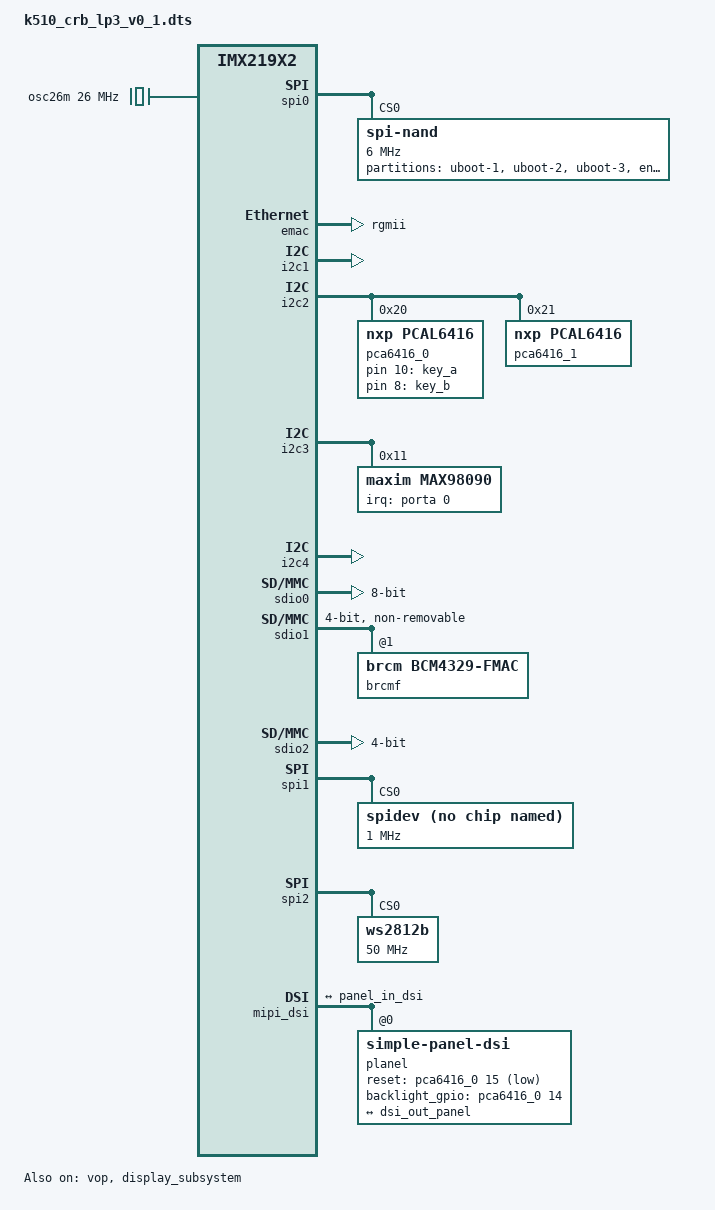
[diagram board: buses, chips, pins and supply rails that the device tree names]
/* Copyright (c) 2022, Canaan Bright Sight Co., Ltd
 *
 * This program is free software; you can redistribute it and/or modify
 * it under the terms of the GNU General Public License version 2 as
 * published by the Free Software Foundation.
*/
#include "k510_common/k510.dtsi"                    /* k510 soc top, include cpu/cache/memory/noc/axi/ahb/apb/sysctl etc. */
#include "k510_common/interrupt_provider.dtsi"      /* k510 soc interrupt controller */
#include "k510_common/interrupt_consumer.dtsi"      /* k510 soc and evb device interrupt consumer */
#include "k510_common/clock_provider.dtsi"          /* k510 soc clock tree */
#include "k510_common/clock_consumer.dtsi"          /* k510 soc and evb clock consumer */
#include "k510_common/reset_provider.dtsi"          /* k510 soc reset provider */
#include "k510_common/reset_consumer.dtsi"          /* k510 soc reset consumer */
#include "k510_common/power_provider.dtsi"          /* k510 soc power provider */
#include "k510_common/power_consumer.dtsi"          /* k510 soc power consumer */
#include "k510_common/dma_provider.dtsi"            /* k510 soc dma provider */
#include "k510_common/dma_consumer.dtsi"            /* k510 soc dma consumer */
#include "k510_common/gpio_provider.dtsi"           /* k510 soc gpio provider */
//#include "k510_common/gpio_consumer.dtsi"           /* k510 soc gpio consumer */
#include "k510_common/iomux_provider.dtsi"          /* k510 soc iomux provider */
#include "k510_common/iomux_consumer.dtsi"          /* k510 soc iomux consumer */
#include "k510_common/camera-imx219x2.dtsi"          /* camera imx219 */
//#include "k510_common/camera-imx385.dtsi"          /* camera imx385 */
#include <dt-bindings/display/drm_mipi_dsi.h>

/* evalution board device tree, include nandflash/emmc/ethphy/sensor/hdmi/pmic etc. */

/ {
    chosen {
        bootargs            = "root=/dev/nfs rw nfsroot=10.100.226.63:/home/yangguang/nfs_server/k510_nfsroot ip=10.100.226.221:10.100.226.63:10.100.226.254:255.255.255.0:k510:eth0:off console=ttyS0,115200n8 debug loglevel=7";
        stdout-path         = "uart0:115200n8";
    };
};


&ddr_memory {
    reg = <0x0 0x00000000 0x0 0xf000000>;  /*0~240M*/
};

/*DSP: 128M to 136M*/
    
&sharem {
    reg = <0x0 0xf000000 0x0 0x10000000>;  /*240M~496M*/
};

&serial0 {
    clock-frequency = <25000000>;
    reg-shift = <2>;
    reg-io-width = <4>;
    no-loopback-test = <1>;
};

&serial1 {
    clock-frequency = <25000000>;
    reg-shift = <2>;
    reg-io-width = <4>;
    no-loopback-test = <1>;
};
&spi0 {
    status = "okay";
	pinctrl-names = "default";
    pinctrl-0 = <&spi0_pins>; 
    num-cs = <4>;
    reg-io-width = <4>;
    spi-nand@0 {
        #address-cells = <1>;
        #size-cells = <1>;
        compatible = "spi-nand";
		spi-max-frequency = <6000000>;
        spi-tx-bus-width = <4>;
		spi-rx-bus-width = <4>;
        reg = <0 0 0 0>;
		
	
        partition@0 {
                label = "uboot-1";
                reg = <0x00000000 0x00100000>;
        };

        partition@100000 {
                label = "uboot-2";
                reg = <0x00100000 0x00100000>;
        };

        partition@200000 {
                label = "uboot-3";
                reg = <0x00200000 0x00100000>;
        };

        partition@300000 {
                label = "env";
                reg = <0x00300000 0x00040000>;
        };

        partition@340000 {
                label = "dtb";
                reg = <0x340000 0x00040000>;
        };

        partition@380000 {
                label = "kernel";
                reg = <0x380000 0x0f00000>;
        };

        partition@1280000 {
                label = "rootfs";
                reg = <0x1280000 0x06d00000>;
        };
    };
};

&iomux {
//    pinctrl-0 = <&uart0_pins &uart1_pins &mmc0_pins &mmc2_pins &pwm0_pins &pwm1_pins &i2c3_pins &i2s_pins &i2c2_pins &i2c1_pins &i2c4_pins &dvp_pins>;

    uart0_pins: iomux_uart0_pins {
        pinctrl-k510,pins = <
            (112) (FUNC_UART0_SIN)
            (113) (FUNC_UART0_SOUT)
        >;
    };
    uart1_pins: iomux_uart1_pins {
        pinctrl-k510,pins = <
            (114) (FUNC_UART1_SIN)
            (115) (FUNC_UART1_SOUT)
        >;
    };

    emac_rgmii_pins: iomux_emac_rgmii_pins {
        pinctrl-k510,pins = <
            (35) (FUNC_EMAC_MDC)
            (36) (FUNC_EMAC_MDIO)
            (29) (FUNC_EMAC_TX_CLK_OUT)
            (38) (FUNC_EMAC_TX_CTL)
            (46) (FUNC_EMAC_TX_D0)
            (45) (FUNC_EMAC_TX_D1)
            (44) (FUNC_EMAC_TX_D2)
            (43) (FUNC_EMAC_TX_D3)
            (30) (FUNC_EMAC_RX_CLK_IN)
            (37) (FUNC_EMAC_RX_CTL)
            (42) (FUNC_EMAC_RX_D0)
            (41) (FUNC_EMAC_RX_D1)
            (40) (FUNC_EMAC_RX_D2)
            (39) (FUNC_EMAC_RX_D3)
        >;
    };

    i2s_pins: iomux_i2s_pins {
        pinctrl-k510,pins = <
            (98) (FUNC_AUDIO_INOUT_I2S_SCLK_GATE)
            (99) (FUNC_AUDIO_INOUT_I2S_WS)
            (100) (FUNC_AUDIO_OUT0)
            (101) (FUNC_AUDIO_IN0)
        >;
    };

    // hdmi & audio
    i2c3_pins: iomux_i2c3_pins {
        pinctrl-k510,pins = <
            (116) (FUNC_I2C3_SDA)
            (117) (FUNC_I2C3_SCLK)
        >;
    };
    
    // pcal6416
    i2c2_pins: iomux_i2c2_pins {
        pinctrl-k510,pins = <
            (92) (FUNC_I2C2_SDA)
            (93) (FUNC_I2C2_SCLK)
        >;
    };
    
    // csi sensor
    i2c1_pins: iomux_i2c1_pins {
        pinctrl-k510,pins = <
            (121) (FUNC_I2C1_SDA)
            (120) (FUNC_I2C1_SCLK)

        >;
    };
    //csi2
    i2c4_pins: iomux_i2c4_pins {
        pinctrl-k510,pins = <
            (48) (FUNC_I2C4_SDA)
            (47) (FUNC_I2C4_SCLK)
        >;
    };

    dvp_pins:iomux_dvp_pins{
        pinctrl-k510,pins = <
            (51) (FUNC_DVP_D4   )
            (52) (FUNC_DVP_D5   )
            (53) (FUNC_DVP_D6   )
            (54) (FUNC_DVP_D7   )
            (55) (FUNC_DVP_D8   )
            (56) (FUNC_DVP_D9   )
            (57) (FUNC_DVP_D10  )
            (58) (FUNC_DVP_D11  )
            (59) (FUNC_DVP_D12  )
            (60) (FUNC_DVP_D13  )
            (61) (FUNC_DVP_D14  )
            (62) (FUNC_DVP_D15  )
            (63) (FUNC_DVP_VSYNC)
            (64) (FUNC_DVP_HREF )
            (66) (FUNC_DVP_PCLK )
        >;
    };

    gpio_pins: iomux_gpio_pins {
        pinctrl-k510,pins = <
            (122) (FUNC_GPIO0) 
            (123) (FUNC_GPIO1) 
            (124) (FUNC_GPIO2) 
            (125) (FUNC_GPIO3) 
        >;
    };

    extern_gpio_pins: iomux_extern_gpio_pins {
        pinctrl-k510,pins = <
            (96) (FUNC_GPIO5)
        >;
    };

    bt1120_pins: iomux_bt1120_pins {
        pinctrl-k510,pins = <
            (67) (FUNC_BT1120_OUT_DATA_D0)
            (68) (FUNC_BT1120_OUT_DATA_D1)
            (69) (FUNC_BT1120_OUT_DATA_D2)
            (70) (FUNC_BT1120_OUT_DATA_D3)
            (71) (FUNC_BT1120_OUT_DATA_D4)
            (72) (FUNC_BT1120_OUT_DATA_D5)
            (73) (FUNC_BT1120_OUT_DATA_D6)
            (74) (FUNC_BT1120_OUT_DATA_D7)
            (75) (FUNC_BT1120_OUT_DATA_C0)
            (76) (FUNC_BT1120_OUT_DATA_C1)
            (77) (FUNC_BT1120_OUT_DATA_C2)
            (78) (FUNC_BT1120_OUT_DATA_C3)
            (79) (FUNC_BT1120_OUT_DATA_C4)
            (80) (FUNC_BT1120_OUT_DATA_C5)
            (81) (FUNC_BT1120_OUT_DATA_C6)
            (82) (FUNC_BT1120_OUT_DATA_C7)
            (83) (FUNC_BT1120_OUT_CLK    )
            (84) (FUNC_BT1120_OUT_VSYNC  )
            (85) (FUNC_BT1120_OUT_HSYNC  )
        >;
    };

    pwm0_pins: iomux_pwm0_pins {
        pinctrl-k510,pins = <
            (126) (FUNC_PWM_PINS_1_IO_PINS_PWM_1_O_OVAL)  
        >;
    };

    pwm1_pins: iomux_pwm1_pins {
        pinctrl-k510,pins = <
            (127) (FUNC_PWM_PINS_1_IO_PINS_PWM_5_O_OVAL)    
        >;
    };

    spi1_pins: iomux_spi1_pins {
        pinctrl-k510,pins = <
            (104) (FUNC_SPI1_SS0)    
            (105) (FUNC_SPI1_SCLK)   
            (106) (FUNC_SPI1_D0) 
            (107) (FUNC_SPI1_D1) 
        >;
    };
    spi0_pins: iomux_spi0_pins {
        pinctrl-k510,pins = <
          (86) (FUNC_SPI0_CLK)
          (87) (FUNC_SPI0_CS)
          (88) (FUNC_SPI0_D0)
          (89) (FUNC_SPI0_D1)
          (90) (FUNC_SPI0_D2)
          (91) (FUNC_SPI0_D3)
        >;
    };

    spi2_pins: iomux_spi2_pins {
        pinctrl-k510,pins = <
            (97) (FUNC_SPI2_D0)
        >;
    };

    mmc1_pins: iomux_mmc1_pins {
        pinctrl-k510,pins = <
          (17) (FUNC_MMC1_CLK)
          (18) (FUNC_MMC1_CMD)
          (19) (FUNC_MMC1_DATA3)
          (20) (FUNC_MMC1_DATA2)
          (21) (FUNC_MMC1_DATA1)
          (22) (FUNC_MMC1_DATA0)
        >;
    };
};

&serial0 {
    pinctrl-names = "default";
    pinctrl-0 = <&uart0_pins>;

};

&serial1 {
    pinctrl-names = "default";
    pinctrl-0 = <&uart1_pins>;
};
&emac {
    phy-mode = "rgmii";
    pinctrl-names = "default";
    pinctrl-0 = <&emac_rgmii_pins>;
};


&i2c0 {
    status = "disable";
};

&i2c1 {
    status = "okay";
    pinctrl-names = "default";
    pinctrl-0 = <&i2c1_pins>;
};

&i2c2 {
    status = "okay";
    #address-cells  = <1>;
    #size-cells     = <0>;
    pinctrl-names = "default";
    pinctrl-0 = <&i2c2_pins>;

    pca6416_0: gpio@20 {
        compatible = "nxp,pcal6416";
        reg = <0x20>;
        gpio-controller;
        #gpio-cells = <2>;
        //interrupt-controller;
        //#interrupt-cells = <2>;
        //interrupt-parent = <&porta>;
        /* use gpio 5 */
        //interrupts = <5 4>;
        //pinctrl-names = "default";
        //pinctrl-0 = <&extern_gpio_pins>;
    };

    pca6416_1: gpio@21 {
       compatible = "nxp,pcal6416";
       reg = <0x21>;
       gpio-controller;
       #gpio-cells = <2>;

    };
};


&sysctl_boot {
    osc26m: osc26m {
        #clock-cells                            = <0>;
        compatible                              = "fixed-clock";
        clock-frequency                         = <26000000>;
        clock-accuracy                          = <0>;
    };
};

&i2c3 {
    status = "okay";
    #address-cells  = <1>;
    #size-cells     = <0>;
    pinctrl-names = "default";
    pinctrl-0 = <&i2c3_pins>;

    max98090: max98090@11 {
        compatible = "maxim,max98090";
        reg = <0x11>;
        clock-names = "mclk";
        clocks = <&osc26m>;
        interrupt-parent = <&porta>;
        interrupts = <0 GPIO_ACTIVE_HIGH>;
    };
};

&i2c4 {
    status = "okay";
    pinctrl-names = "default";
    pinctrl-0 = <&i2c4_pins>;
};

&i2c5 {
    status = "disable";
};

&i2c6 {
    status = "disable";
};

&sdio0 {
    status    = "okay";
    bus-width = <8>;


    pinctrl-names = "default";
    pinctrl-0 = <&mmc0_pins>;

};

&sdio1 {
    status = "okay";
    pinctrl-names = "default";
    pinctrl-0 = <&mmc1_pins>;

    mmc-pwrseq = <&wifi_pwrseq>;
    bus-width = <4>;
    #address-cells = <1>;
    #size-cells = <0>;
    keep-power-in-suspend;
    non-removable;
    brcmf: wifi@1 {
        reg = <1>;
        compatible = "brcm,bcm4329-fmac";
        brcm,drive-strength = <10>;
        /*
        interrupt-parent = <&porta>;
        interrupt-names = "host-wake";
        interrupts = <&pca6416_1 2 GPIO_ACTIVE_LOW>;
        */
    };
};

&sdio2 {
    status    = "okay";                    
    bus-width = <4>;
    cap-sd-highspeed;
    cdns,phy-input-delay-legacy = <15>;
    cdns,phy-input-delay-sd-highspeed = <15>;

    pinctrl-names = "default";
    pinctrl-0 = <&mmc2_pins>;

};



&spi1 {
    status = "okay";
    pinctrl-names = "default";
    pinctrl-0 = <&spi1_pins>;  

    spidev@0 {
        compatible = "spidev";
        reg = <0 0 0 0>;
        spi-max-frequency = <1000000>;
    };
};

&spi2 {
    status = "okay";
    pinctrl-names = "default";
    pinctrl-0 = <&spi2_pins>;

    #address-cells = <1>;
    #size-cells = <0>; 
    ranges = <0 0 0x960a0000>;

    ws2812b@0 {
        compatible = "ws2812b";
        reg = <0>;
        spi-max-frequency = <50000000>;
    };
};

&spis {
    status = "disable";
};

&gpio {
    pinctrl-names = "default";
    pinctrl-0 = <&gpio_pins>;
};

&isp {
    compatible = "canaan,k510-isp";
    reg = <0x0 0x92600000 0x0 0x200000>;

    dsi_en-gpios = <&pca6416_0 14 GPIO_ACTIVE_HIGH>;
    dsi_rest-gpios = <&pca6416_0 15 GPIO_ACTIVE_LOW>;

    pinctrl-names = "default";
    pinctrl-0 = <&dvp_pins>;

};

&isp1 {
    compatible = "canaan,k510-isp1";
    reg = <0x0 0x92600000 0x0 0x200000>;

//    dsi_en-gpios = <&pca6416_0 14 GPIO_ACTIVE_HIGH>;
//    dsi_rest-gpios = <&pca6416_0 15 GPIO_ACTIVE_LOW>;

//    pinctrl-names = "default";
//    pinctrl-0 = <&dvp_pins>;

};


&mipi_dsi {

    planel@0 {
        compatible = "simple-panel-dsi";
        reg = <0>;

        reset-gpios = <&pca6416_0 15 GPIO_ACTIVE_LOW>;
        backlight_gpio-gpios = <&pca6416_0 14 GPIO_ACTIVE_HIGH>;
        pinctrl-names = "default";

        prepare-delay-ms = <100>;
        reset-delay-ms = <10>;
        init-delay-ms = <100>;
        disable-delay-ms = <50>;
        unprepare-delay-ms = <20>;

        width-mm = <68>;
        height-mm = <121>;

        dsi,flags = <(MIPI_DSI_MODE_VIDEO | MIPI_DSI_MODE_VIDEO_BURST |
                              MIPI_DSI_MODE_LPM | MIPI_DSI_MODE_EOT_PACKET)>;
        dsi,format = <MIPI_DSI_FMT_RGB888>;
        dsi,lanes = <4>;

        panel-init-sequence = [
            39 00 04 B9 Ff 83 99
            39 00 10 B1 02 04 70 90 01 32 33 11 11 4D 57 56 73 02 02
                39 00 0c B2 00 80 80 AE 05 07 5A 11 10 10 00
            39 00 2e B4 00 FF 04 08 0C 00 00 00 10 00 00 02 00 24 02 04 09 21 03 00 00 0A 90 88 04 08 0C 00 00 00 04 00 00 02 00 24 02 04 08 00 00 02 88 00 08
                        39 00 28 D3 00 00 00 00 00 00 04 04 32 10 04 00 04 00 00 00 00 00 00 00 00 00 00 21 00 05 05 13 00 00 00 05 40 00 00 00 05 20 80
                        39 00 21 D5 00 00 21 20 19 19 18 18 00 00 01 00 18 18 03 02 19 19 00 00 00 00 00 00 00 00 31 31 30 30 2F 2F
                        39 00 21 D6 40 40 20 21 18 18 19 19 40 40 02 03 18 18 00 01 19 19 40 40 40 40 40 40 40 40 31 31 30 30 2F 2F
                        39 00 11 D8 00 00 00 00 00 00 00 00 00 00 00 00 00 00 00 00
                        39 00 02 BD 01
                //      39 00 0a B2 0b 44 44 44 44 44 44 44 44
                        39 00 11 D8 00 00 00 00 00 00 00 00 00 00 00 00 00 00 00 00
                        39 00 02 BD 02
                        39 00 09 D8 AA AE EA AA AA AE EA AA
                        39 00 02 BD 00
                        39 00 37 E0 01 15 22 1E 46 51 5E 5A 63 6A 71 76 7B 82 88 8D 92 9C A0 AB A2 B5 BD 63 61 6E 7A 01 15 22 1E 46 51 5E 5A 63 6A 71 76 7B 82 89 8E 92 9C A0 AB A2 B5 BD 63 61 6E 7A
                        39 00 03 C0 25 5A
                        39 00 03 B6 91 91
                        39 00 02 D2 66
                        39 00 02 CC 08
                        39 00 02 36 03
                        05 00 01 11
                        05 00 01 29
        ];

	display-timings {
            native-mode = <&timing0>;

            timing0: timing0 {
                    clock-frequency = <60000000>;
                    hactive = <1080>;
                    vactive = <1920>;
                    hback-porch = <42>;
                    hfront-porch = <44>;
                    vback-porch = <10>;
                    vfront-porch = <14>;
                    hsync-len = <2>;
                    vsync-len = <2>;
                    hsync-active = <0>;
                    vsync-active = <0>;
                    de-active = <0>;
                    pixelclk-active = <0>;
            };
        };

        ports {
            #address-cells = <1>;
            #size-cells = <0>;

            port@0 {
                reg = <0>;
                panel_in_dsi: endpoint {
                        remote-endpoint = <&dsi_out_panel>;
                };
            };
        };

    };

    ports {
        #address-cells = <1>;
        #size-cells = <0>;

        port@1 {
                reg = <1>;
                dsi_out_panel: endpoint {
                        remote-endpoint = <&panel_in_dsi>;
                };
        };
    };

};

&vop {
    status    = "okay";

};

&display_subsystem {

   status = "okay";
};



&gnne {
    compatible = "k510-gnne";
    reg = <0x0 0x94180000 0x0 0x80000>;
};

&h264 {
    compatible = "al,al5r";
    reg = <0x0 0x92740000 0x0 0x10000>;
};

&dsp {
    compatible = "k510-dsp";
    sysctl-phy-addr = <0x97000000>;
};

&usb {
    reg = <0x0 0x93060000 0x0 0x10000>;
    otg_power_supply-gpios = <&pca6416_1 14 GPIO_ACTIVE_HIGH>;
};

&pwm0 {
    pinctrl-names = "default";
    pinctrl-0 = <&pwm0_pins>;

};

&pwm1 {
    pinctrl-names = "default";
    pinctrl-0 = <&pwm1_pins>;

};

&i2s {
    pinctrl-names = "default";
    pinctrl-0 = <&i2s_pins>;

};

/{
    sound {
        compatible = "canaan,canaan-audio-max98090";
        canaan,model = "CANAAN-I2S";
        canaan,i2s-controller = <&i2s>;
        canaan,audio-codec = <&max98090>;
    };
};

&manage_subsys {
    wifi_pwrseq: wifi-pwrseq {
        compatible = "mmc-pwrseq-simple";
        reset-gpios = <&pca6416_1 1 GPIO_ACTIVE_LOW>;
    };
};

&mailbox {
    #mbox-cells = <1>;
};

/* 
 * mboxes = <&mailbox channel_number tx/rx>
 *          channel_number: 0-15
 *          rx: 0-7
 *          tx: 8-15
 */
&manage_subsys {
    mailbox_client: mailbox_client@0 {
        compatible = "mailbox-client";
        mboxes =    <&mailbox 0>, <&mailbox 1>, <&mailbox 2>, <&mailbox 3>,
                    <&mailbox 4>, <&mailbox 5>, <&mailbox 6>, <&mailbox 7>,
                    <&mailbox 8>, <&mailbox 9>, <&mailbox 10>, <&mailbox 11>,
                    <&mailbox 12>, <&mailbox 13>, <&mailbox 14>, <&mailbox 15>;
        mbox-names = "tx_chan_0", "tx_chan_1", "tx_chan_2", "tx_chan_3", 
                    "tx_chan_4", "tx_chan_5", "tx_chan_6", "tx_chan_7", 
                    "rx_chan_0", "rx_chan_1", "rx_chan_2", "rx_chan_3", 
                    "rx_chan_4", "rx_chan_5", "rx_chan_6", "rx_chan_7";                    
        reg =   <0x1 0x087ffe00 0x0 0x20>, /* cpu2dsp channel 0 */
                <0x1 0x087ffe20 0x0 0x20>, /* cpu2dsp channel 1 */
                <0x1 0x087ffe40 0x0 0x20>, /* cpu2dsp channel 2 */
                <0x1 0x087ffe60 0x0 0x20>, /* cpu2dsp channel 3 */
                <0x1 0x087ffe80 0x0 0x20>, /* cpu2dsp channel 4 */
                <0x1 0x087ffea0 0x0 0x20>, /* cpu2dsp channel 5 */
                <0x1 0x087ffec0 0x0 0x20>, /* cpu2dsp channel 6 */
                <0x1 0x087ffee0 0x0 0x20>, /* cpu2dsp channel 7 */

                <0x1 0x087fff00 0x0 0x20>, /* dsp2cpu channel 0 */
                <0x1 0x087fff20 0x0 0x20>, /* dsp2cpu channel 1 */
                <0x1 0x087fff40 0x0 0x20>, /* dsp2cpu channel 2 */
                <0x1 0x087fff60 0x0 0x20>, /* dsp2cpu channel 3 */
                <0x1 0x087fff80 0x0 0x20>, /* dsp2cpu channel 4 */
                <0x1 0x087fffa0 0x0 0x20>, /* dsp2cpu channel 5 */
                <0x1 0x087fffc0 0x0 0x20>, /* dsp2cpu channel 6 */
                <0x1 0x087fffe0 0x0 0x20>; /* dsp2cpu channel 7 */
    };
};

&noc_bus {
    gpio_keys {
        compatible = "gpio-keys";
        pinctrl-names = "default";

        key_a {
            label = "key_a";
            linux,code = <30>;
            gpios = <&pca6416_0 10 0>;
            debounce-interval = <20>;
        };

        key_b {
            label = "key_b";
            linux,code = <48>;
            gpios = <&pca6416_0 8 0>;
            debounce-interval = <20>;
        };
    };
};
